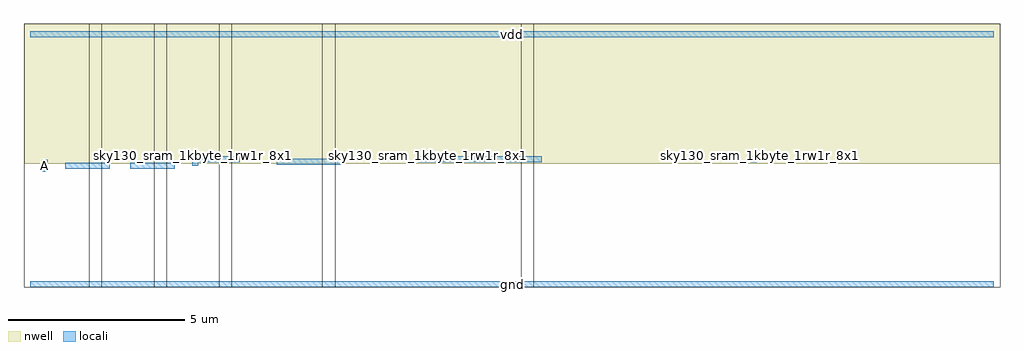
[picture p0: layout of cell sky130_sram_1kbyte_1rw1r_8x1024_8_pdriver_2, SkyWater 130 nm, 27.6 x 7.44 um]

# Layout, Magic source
magic
tech sky130A
magscale 1 2
<< nwell >>
rect -36 679 5484 1471
<< locali >>
rect 0 1397 5448 1431
rect 64 636 98 702
rect 915 690 1185 724
rect 196 652 449 686
rect 564 652 817 686
rect 915 669 949 690
rect 1393 674 1769 708
rect 2195 690 2893 724
rect 4075 690 4109 724
rect 0 -17 5448 17
use sky130_sram_1kbyte_1rw1r_8x1024_8_pinv_9  sky130_sram_1kbyte_1rw1r_8x1024_8_pinv_9_0
transform 1 0 2812 0 1 0
box -36 -17 2672 1471
use sky130_sram_1kbyte_1rw1r_8x1024_8_pinv_8  sky130_sram_1kbyte_1rw1r_8x1024_8_pinv_8_0
transform 1 0 1688 0 1 0
box -36 -17 1160 1471
use sky130_sram_1kbyte_1rw1r_8x1024_8_pinv_7  sky130_sram_1kbyte_1rw1r_8x1024_8_pinv_7_0
transform 1 0 1104 0 1 0
box -36 -17 620 1471
use sky130_sram_1kbyte_1rw1r_8x1024_8_pinv_0  sky130_sram_1kbyte_1rw1r_8x1024_8_pinv_0_0
transform 1 0 736 0 1 0
box -36 -17 404 1471
use sky130_sram_1kbyte_1rw1r_8x1024_8_pinv_0  sky130_sram_1kbyte_1rw1r_8x1024_8_pinv_0_1
transform 1 0 368 0 1 0
box -36 -17 404 1471
use sky130_sram_1kbyte_1rw1r_8x1024_8_pinv_0  sky130_sram_1kbyte_1rw1r_8x1024_8_pinv_0_2
transform 1 0 0 0 1 0
box -36 -17 404 1471
<< labels >>
rlabel locali s 4092 707 4092 707 4 Z
port 1 nsew
rlabel locali s 81 669 81 669 4 A
port 2 nsew
rlabel locali s 2724 0 2724 0 4 gnd
port 3 nsew
rlabel locali s 2724 1414 2724 1414 4 vdd
port 4 nsew
<< properties >>
string FIXED_BBOX 0 0 5448 1414
string GDS_FILE $PDKPATH/libs.ref/sky130_sram_macros/gds/sky130_sram_1kbyte_1rw1r_8x1024_8.gds
string GDS_END 6095862
string GDS_START 6093978
<< end >>
